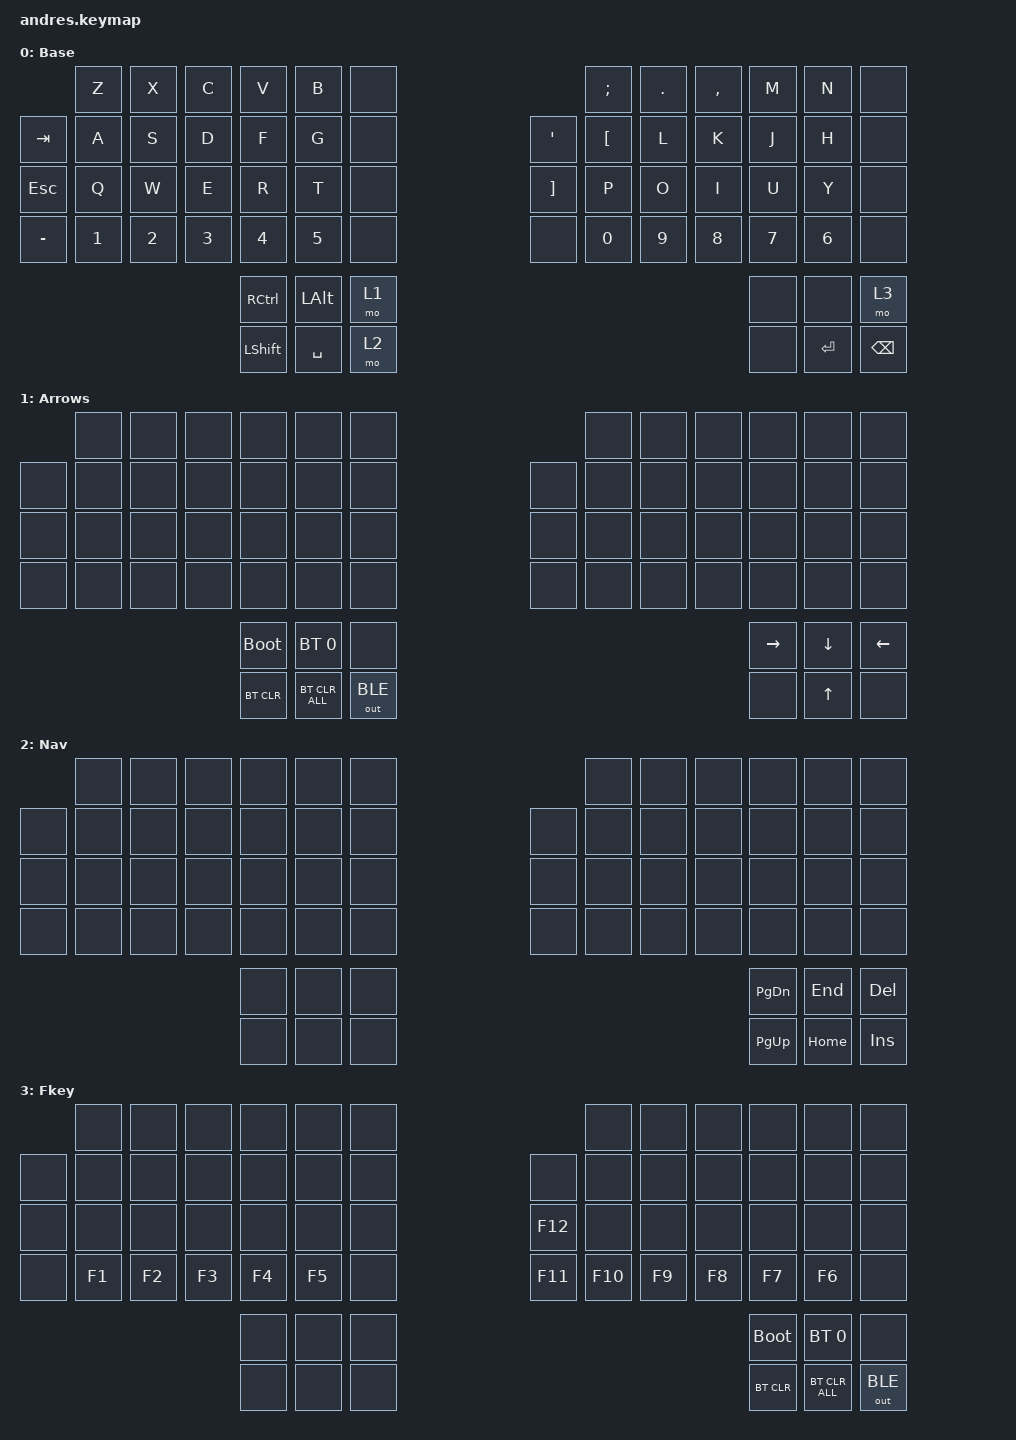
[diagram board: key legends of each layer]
#include <behaviors.dtsi>
#include <dt-bindings/zmk/outputs.h>
#include <dt-bindings/zmk/keys.h>
#include <dt-bindings/zmk/bt.h>

/ {
  keymap {
    compatible = "zmk,keymap";
    default_layer = <0>;
    default_layer {
      display-name = "Base";
      bindings = < &kp TAB &kp ESC &kp MINUS &kp Z &kp A &kp Q &kp N1 &kp X &kp S &kp W &kp N2 &kp C &kp D &kp E &kp N3 &kp V &kp F &kp R &kp N4 &kp B &kp G &kp T &kp N5 &none &none &none &none &kp RCTRL &kp LSHFT &kp LALT &kp SPACE &mo 1 &mo 2 &kp QUOT &kp RBKT &none &kp SCLN &kp LBKT &kp P &kp N0 &kp DOT &kp L &kp O &kp N9 &kp COMMA &kp K &kp I &kp N8 &kp M &kp J &kp U &kp N7 &kp N &kp H &kp Y &kp N6 &none &none &none &none &none &none &none &kp ENTER &mo 3 &kp BSPC >;
    };
    layer_1 {
      display-name = "Arrows";
      bindings = < &none &none &none &none &none &none &none &none &none &none &none &none &none &none &none &none &none &none &none &none &none &none &none &none &none &none &none &bootloader &bt BT_CLR &bt BT_SEL 0 &bt BT_CLR_ALL &none &out OUT_BLE &none &none &none &none &none &none &none &none &none &none &none &none &none &none &none &none &none &none &none &none &none &none &none &none &none &none &none &kp RIGHT &none &kp DOWN &kp UP &kp LEFT &none >;
    };
    layer_2 {
      display-name = "Nav";
      bindings = < &none &none &none &none &none &none &none &none &none &none &none &none &none &none &none &none &none &none &none &none &none &none &none &none &none &none &none &none &none &none &none &none &none &none &none &none &none &none &none &none &none &none &none &none &none &none &none &none &none &none &none &none &none &none &none &none &none &none &none &none &kp PG_DN &kp PG_UP &kp END &kp HOME &kp DEL &kp INS >;
    };
    layer_3 {
      display-name = "Fkey";
      bindings = < &none &none &none &none &none &none &kp F1 &none &none &none &kp F2 &none &none &none &kp F3 &none &none &none &kp F4 &none &none &none &kp F5 &none &none &none &none &none &none &none &none &none &none &none &kp F12 &kp F11 &none &none &none &kp F10 &none &none &none &kp F9 &none &none &none &kp F8 &none &none &none &kp F7 &none &none &none &kp F6 &none &none &none &none &bootloader &bt BT_CLR &bt BT_SEL 0 &bt BT_CLR_ALL &none &out OUT_BLE >;
    };
  };
};
